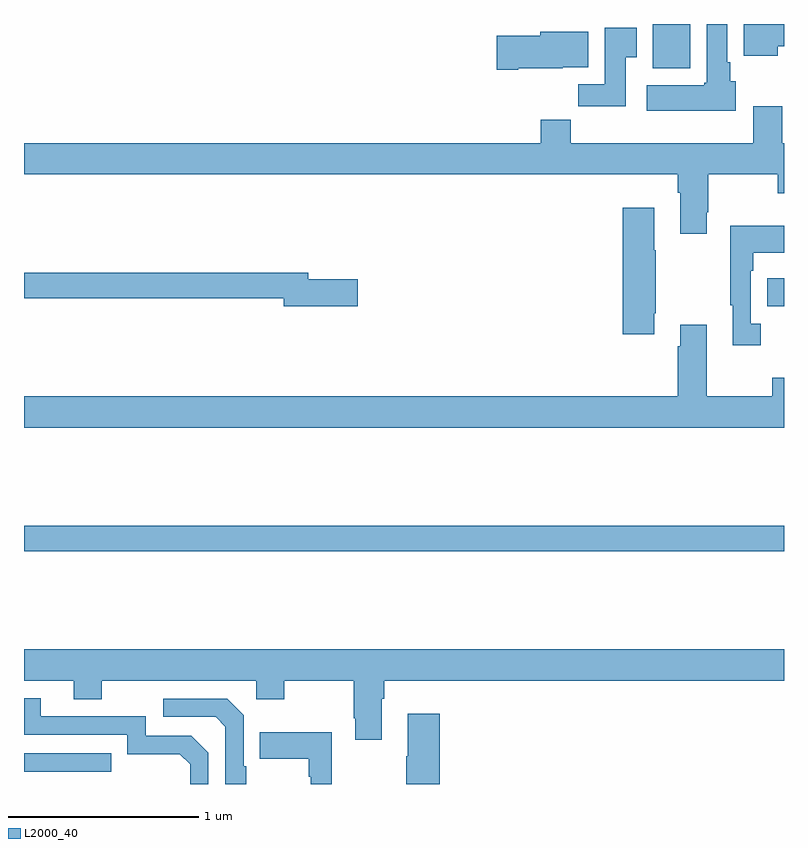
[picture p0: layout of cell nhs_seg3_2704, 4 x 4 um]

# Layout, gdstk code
import gdstk
lib = gdstk.Library(unit=1e-6, precision=1e-09)
def R(c, l, rs):  # rectangles x0, y0, x1, y1
    for r in rs: c.add(gdstk.rectangle(r[:2], r[2:], *l))
def P(c, l, *ps):  # polygons
    for p in ps: c.add(gdstk.Polygon(p, *l))
L2000_40 = (2000, 40)

nhs_seg3_2704 = lib.new_cell('nhs_seg3_2704')
R(nhs_seg3_2704, L2000_40, [(251,672.465,251.459,672.561), (251,673.624,255,673.76), (254.911,674.914,255,675.061), (254.309,676.166,254.506,676.4)])
P(nhs_seg3_2704, L2000_40, [(254.968,676.283),(255,676.283),(255,676.4),(254.789,676.4),(254.789,676.232),(254.968,676.232)],
  [(254.746,676.098),(254.716,676.098),(254.716,676.198),(254.701,676.198),(254.701,676.4),(254.594,676.4),(254.594,676.092),(254.581,676.092),(254.581,676.078),(254.277,676.078),(254.277,675.944),(254.746,675.944)],
  [(254.167,676.225),(254.224,676.225),(254.224,676.381),(254.057,676.381),(254.057,676.084),(253.918,676.084),(253.918,675.966),(254.167,675.966)],
  [(253.6,676.166),(253.836,676.166),(253.836,676.172),(253.969,676.172),(253.969,676.36),(253.718,676.36),(253.718,676.337),(253.488,676.337),(253.488,676.159),(253.6,676.159)],
  [(254.593,675.409),(254.601,675.409),(254.601,675.608),(254.968,675.608),(254.968,675.509),(255,675.509),(255,675.772),(254.99,675.772),(254.99,675.967),(254.837,675.967),(254.837,675.772),(253.877,675.772),(253.877,675.896),(253.721,675.896),(253.721,675.772),(251,675.772),(251,675.608),(254.441,675.608),(254.441,675.512),(254.453,675.512),(254.453,675.297),(254.593,675.297)],
  [(254.317,674.878),(254.325,674.878),(254.325,675.209),(254.317,675.209),(254.317,675.433),(254.15,675.433),(254.15,674.766),(254.317,674.766)],
  [(254.878,674.822),(254.826,674.822),(254.826,675.101),(254.839,675.101),(254.839,675.197),(255,675.197),(255,675.337),(254.718,675.337),(254.718,674.921),(254.729,674.921),(254.729,674.709),(254.878,674.709)],
  [(252.757,675.056),(252.496,675.056),(252.496,675.092),(251,675.092),(251,674.956),(252.368,674.956),(252.368,674.914),(252.757,674.914)],
  [(255,674.539),(254.938,674.539),(254.938,674.44),(254.593,674.44),(254.593,674.818),(254.453,674.818),(254.453,674.705),(254.441,674.705),(254.441,674.44),(251,674.44),(251,674.276),(255,674.276)],
  [(252.883,672.848),(252.896,672.848),(252.896,672.944),(255,672.944),(255,673.108),(251,673.108),(251,672.944),(251.261,672.944),(251.261,672.845),(251.409,672.845),(251.409,672.944),(252.222,672.944),(252.222,672.845),(252.369,672.845),(252.369,672.944),(252.736,672.944),(252.736,672.745),(252.743,672.745),(252.743,672.633),(252.883,672.633)],
  [(251.97,672.564),(251.88,672.654),(251.64,672.654),(251.64,672.756),(251.089,672.756),(251.089,672.852),(251,672.852),(251,672.66),(251.544,672.66),(251.544,672.557),(251.821,672.557),(251.874,672.504),(251.874,672.4),(251.97,672.4)],
  [(252.169,672.493),(252.156,672.493),(252.156,672.762),(252.069,672.849),(251.733,672.849),(251.733,672.753),(252.009,672.753),(252.06,672.702),(252.06,672.4),(252.169,672.4)],
  [(253.187,672.769),(253.019,672.769),(253.019,672.545),(253.012,672.545),(253.012,672.4),(253.187,672.4)],
  [(252.619,672.673),(252.241,672.673),(252.241,672.533),(252.498,672.533),(252.498,672.437),(252.51,672.437),(252.51,672.4),(252.619,672.4)])

lib.write_gds('nhs_seg3_2704.gds')
